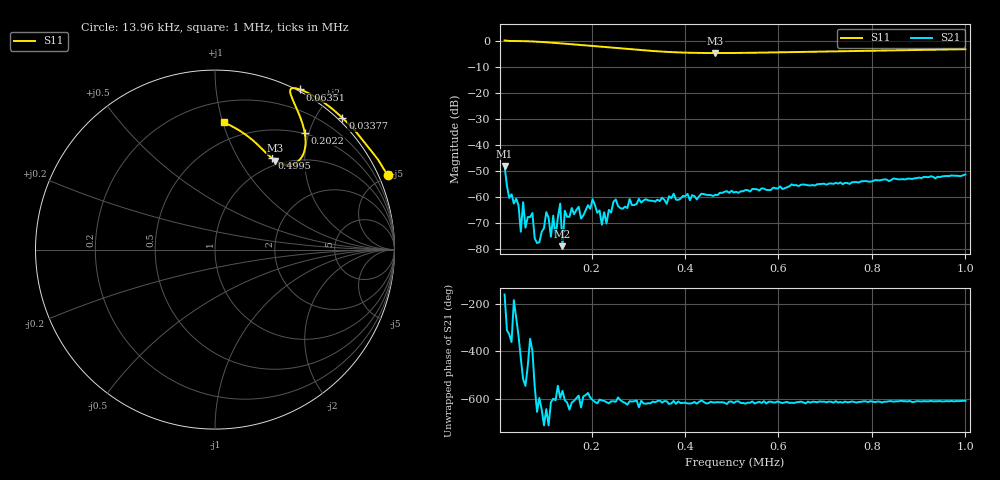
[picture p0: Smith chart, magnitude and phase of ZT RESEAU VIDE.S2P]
!Agilent Technologies,E5071C,MY46109397,A.09.54
!Date: Mon Jan 01 02:20:39 2001
!Data & Calibration Information:
!Freq	S11:SOLT1(ON)	S21:RESPT(ON)	S12:NONE(--)	S22:NONE(--)
# Hz S RI R 50
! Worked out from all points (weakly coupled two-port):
!   200 points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, 13.96 kHz to 1 MHz, reference 50 ohm
!   highest |S21| = -47.93 dB at 13.96 kHz (marker M1); lowest = -78.8 dB at 137.8 kHz (marker M2)
!   lowest |S11| = -4.5 dB at 464.9 kHz (marker M3), VSWR 3.99, Z = 46.8 + j72.2 ohm
!   |S11| at or under -10 dB: nowhere
!   S12 and S22 are empty: the file has one direction only
!   S11 on the Smith chart (normalised r, x): 13.96 kHz: -0.56, +4.78; 33.77 kHz: -0.07, +2.36; 63.51 kHz: -0.02, +1.66; 202.2 kHz: 0.48, +1.93; 499.5 kHz: 0.88, +1.40; 1 MHz: 0.35, +1.01
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13955  0.9616 0.4145  -0.00375 -0.00143  0 0  0 0
33775  0.7101 0.7342  -0.000763 3.73e-05  0 0  0 0
48640  0.563 0.8478  7.84e-05 -0.000204  0 0  0 0
53595  0.5274 0.8682  -0.000745 -0.00031  0 0  0 0
63505  0.4738 0.8921  -8.49e-05 -0.00041  0 0  0 0
83325  0.4246 0.8965  5.74e-05 0.000119  0 0  0 0
118010  0.4303 0.8412  -0.000224 0.000385  0 0  0 0
122965  0.435 0.8305  -6.72e-05 0.000155  0 0  0 0
132875  0.4449 0.8082  -0.000415 0.000633  0 0  0 0
137830  0.45 0.7968  -0.000103 5.22e-05  0 0  0 0
142785  0.4551 0.7851  -0.000224 0.000507  0 0  0 0
182425  0.4895 0.6943  -0.000289 0.000344  0 0  0 0
202245  0.4997 0.6519  -0.000382 0.000842  0 0  0 0
222065  0.5043 0.6128  -0.000116 0.000274  0 0  0 0
251795  0.501 0.5614  -0.000266 0.000875  0 0  0 0
345940  0.4321 0.4758  -0.000325 0.000783  0 0  0 0
464860  0.3364 0.4954  -0.000278 0.00108  0 0  0 0
499545  0.3148 0.5112  -0.000421 0.00128  0 0  0 0
509455  0.3091 0.5161  -0.000407 0.00122  0 0  0 0
672970  0.227 0.5947  -0.00051 0.00165  0 0  0 0
836485  0.1441 0.6582  -0.000686 0.00194  0 0  0 0
1000000  0.0512 0.7084  -0.000969 0.00259  0 0  0 0
